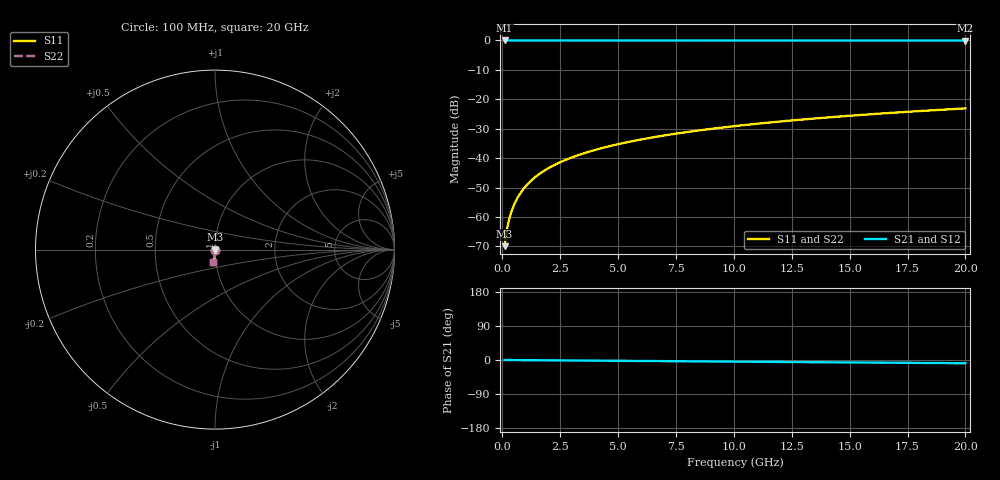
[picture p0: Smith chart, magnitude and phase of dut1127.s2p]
! Touchstone file exported from HFSS 2026.1.0
!  File:  C:/ffzhzh/LocalFiles/Ansys_Project_Files/temp_train_TSV_1127_1783191076_43440.aedt
!  Generated:  02:52:46 AM Jul  5, 2026
!  Design:  TSV
!  Project:  temp_train_TSV_1127_1783191076_43440
! Variables:
!  h_bsmrdl = 2um
!  h_ox = 20um
!  h_rdl = 5um
!  h_sub = 80.14um
!  h_tmrdl = 5um
!  h_tsv = 80.14um
!  h_via = 3um
!  l_bsmrdl = 300um
!  l_sub = 423.64um
!  l_tmrdl = 200um
!  m_sub = 200um
!  pitch = 31.76um
!  r_tsv = 11.82um
!  s_tmrdl = 10um
!  w_bsmrdl = 18um
!  w_sub = 500um
!  w_tmrdl = 12um
!  x_tsv_center1 = 206um
!  x_tsv_center2 = 524um
!  x_tsv_center3 = 736um
!  x_tsv_center4 = 1054um
!  x_tsv_center5 = 1266um
!  x_tsv_center6 = 1584um
# GHz S MA R 50.000000
! Terminal data exported
! Port[1] = TSV1_1_T1
! Port[2] = TSV1_1_T2
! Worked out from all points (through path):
!   200 points, 100 MHz to 20 GHz, reference 50 ohm
!   highest |S21| = 0.00 dB at 100 MHz (marker M1); lowest = 0.0 dB at 20 GHz (marker M2)
!   group delay of S21, straight-line fit = 1.18 ps
!   lowest |S11| = -69.9 dB at 100 MHz (marker M3), VSWR 1.00, Z = 50 - j0.0299 ohm
!   |S11| at or under -10 dB: start of sweep to end of sweep
!   |S22| runs from -69.9 to -23.1 dB; largest |S21 - S12| = 4.7e-15
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0.1  0.0003185 -69.7  0.9999 -0.0  0.9999 -0.0  0.0003185 -69.7
! Gamma 0 0 0 0
! Port Impedance 50 0 50 0
0.2  0.0006155 -78.1  0.9999 -0.1  0.9999 -0.1  0.0006155 -78.1
0.3  0.0009263 -80.6  0.9998 -0.1  0.9998 -0.1  0.0009263 -80.6
0.4  0.001247 -81.7  0.9998 -0.2  0.9998 -0.2  0.001247 -81.7
0.5  0.001577 -82.5  0.9998 -0.2  0.9998 -0.2  0.001577 -82.5
0.7  0.002254 -83.5  0.9997 -0.3  0.9997 -0.3  0.002254 -83.5
0.8  0.002598 -83.9  0.9997 -0.4  0.9997 -0.4  0.002598 -83.9
1  0.003291 -84.7  0.9997 -0.4  0.9997 -0.4  0.003291 -84.7
1.2  0.003987 -85.3  0.9996 -0.5  0.9996 -0.5  0.003987 -85.3
1.4  0.004683 -85.9  0.9996 -0.6  0.9996 -0.6  0.004683 -85.9
1.7  0.005728 -86.6  0.9996 -0.7  0.9996 -0.7  0.005728 -86.6
2  0.006772 -87.1  0.9995 -0.9  0.9995 -0.9  0.006772 -87.1
2.7  0.009209 -88.0  0.9995 -1.2  0.9995 -1.2  0.009209 -88.0
3.5  0.012 -88.8  0.9994 -1.5  0.9994 -1.5  0.012 -88.8
4.2  0.01445 -89.4  0.9993 -1.8  0.9993 -1.8  0.01445 -89.4
5  0.01725 -89.9  0.9992 -2.2  0.9992 -2.2  0.01725 -89.9
6.8  0.02358 -91.0  0.9989 -2.9  0.9989 -2.9  0.02358 -91.0
8.3  0.02886 -91.8  0.9987 -3.6  0.9987 -3.6  0.02886 -91.8
10.1  0.03521 -92.7  0.9984 -4.3  0.9984 -4.3  0.03521 -92.7
13.4  0.04684 -94.4  0.9978 -5.7  0.9978 -5.7  0.04684 -94.4
16.7  0.05844 -95.9  0.997 -7.1  0.997 -7.1  0.05844 -95.9
20  0.07001 -97.4  0.9961 -8.5  0.9961 -8.5  0.07001 -97.4
